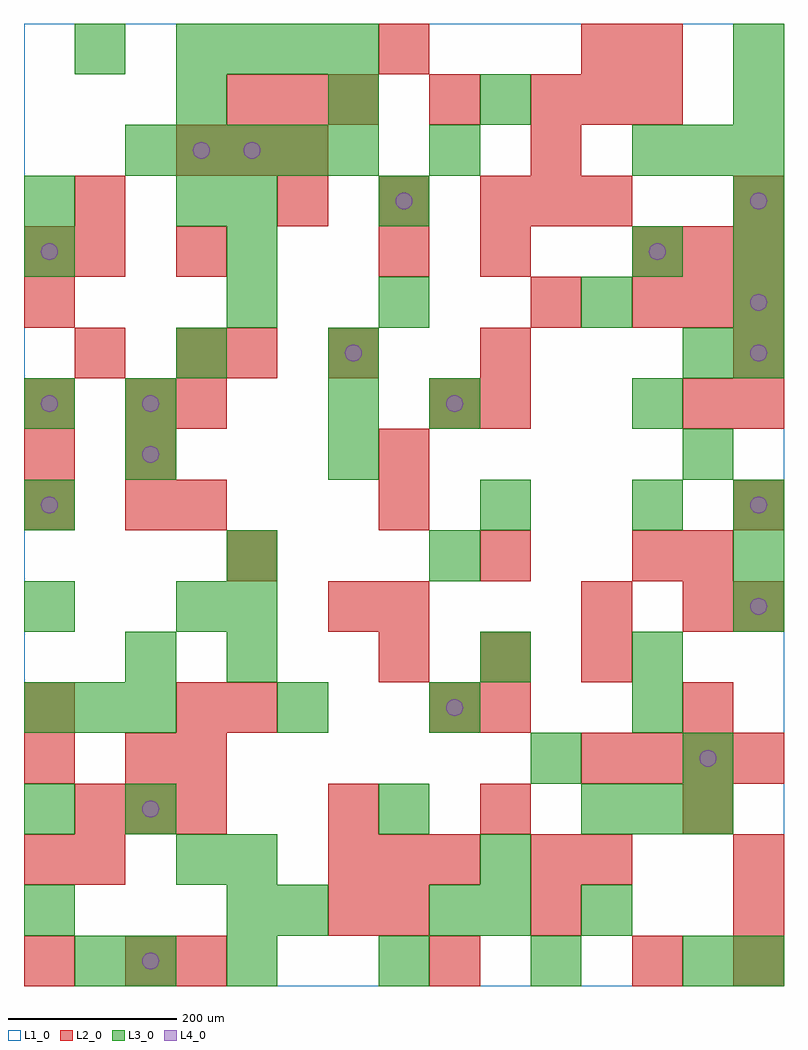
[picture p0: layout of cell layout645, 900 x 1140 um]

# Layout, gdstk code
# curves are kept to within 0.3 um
import gdstk
lib = gdstk.Library(unit=1e-6, precision=1e-09)
def R(c, l, rs):  # rectangles x0, y0, x1, y1
    for r in rs: c.add(gdstk.rectangle(r[:2], r[2:], *l))
def A(c, l, x, y, w, h, nx, ny, dx, dy):  # array of equal rectangles
    R(c, l, [(x+i*dx, y+j*dy, x+i*dx+w, y+j*dy+h) for i in range(nx) for j in range(ny)])
def P(c, l, *ps):  # polygons
    for p in ps: c.add(gdstk.Polygon(p, *l))
L1_0 = (1, 0)
L2_0 = (2, 0)
L3_0 = (3, 0)
L4_0 = (4, 0)

layout645 = lib.new_cell('layout645')
R(layout645, L1_0, [(0,0,900,1140)])
A(layout645, L2_0, 0, 0, 60, 60, 1, 3, 0, 120)
A(layout645, L2_0, 840, 0, 60, 60, 1, 3, 0, 60)
A(layout645, L2_0, 360, 120, 60, 60, 3, 1, 60, 0)
A(layout645, L2_0, 60, 180, 60, 60, 3, 1, 60, 0)
A(layout645, L2_0, 780, 180, 60, 60, 1, 3, 0, 120)
A(layout645, L2_0, 660, 240, 60, 60, 4, 1, 60, 0)
A(layout645, L2_0, 480, 300, 60, 60, 1, 3, 0, 360)
A(layout645, L2_0, 540, 300, 60, 60, 1, 3, 0, 180)
A(layout645, L2_0, 420, 360, 60, 60, 3, 1, 120, 0)
A(layout645, L2_0, 840, 420, 60, 60, 1, 3, 0, 120)
A(layout645, L2_0, 0, 540, 60, 60, 1, 3, 0, 60)
A(layout645, L2_0, 120, 540, 60, 60, 1, 3, 0, 60)
A(layout645, L2_0, 420, 600, 60, 60, 1, 3, 0, 240)
A(layout645, L2_0, 720, 780, 60, 60, 3, 2, 60, 60)
A(layout645, L2_0, 300, 900, 60, 60, 3, 1, 120, 0)
A(layout645, L2_0, 180, 960, 60, 60, 3, 1, 60, 0)
A(layout645, L2_0, 240, 1020, 60, 60, 3, 1, 60, 0)
A(layout645, L2_0, 600, 1020, 60, 60, 3, 1, 60, 0)
R(layout645, L2_0, [(120,0,180,60), (180,0,240,60), (480,0,540,60), (720,0,780,60), (360,60,420,120), (420,60,480,120), (600,60,660,120), (60,120,120,180), (600,120,660,180), (660,120,720,180), (360,180,420,240), (540,180,600,240), (120,240,180,300), (180,240,240,300), (0,300,60,360), (180,300,240,360), (240,300,300,360), (360,420,420,480), (420,420,480,480), (660,420,720,480), (240,480,300,540), (720,480,780,540), (780,480,840,540), (180,540,240,600), (420,540,480,600), (180,660,240,720), (780,660,840,720), (60,720,120,780), (180,720,240,780), (240,720,300,780), (360,720,420,780), (540,720,600,780), (840,720,900,780), (0,780,60,840), (600,780,660,840), (0,840,60,900), (60,840,120,900), (180,840,240,900), (540,840,600,900), (60,900,120,960), (600,900,660,960), (660,900,720,960), (840,900,900,960), (600,960,660,1020), (660,1080,720,1140), (720,1080,780,1140)])
A(layout645, L3_0, 120, 0, 60, 60, 1, 3, 0, 180)
A(layout645, L3_0, 240, 0, 60, 60, 4, 1, 180, 0)
A(layout645, L3_0, 180, 120, 60, 60, 1, 3, 0, 300)
A(layout645, L3_0, 660, 180, 60, 60, 3, 1, 60, 0)
A(layout645, L3_0, 0, 300, 60, 60, 3, 1, 60, 0)
A(layout645, L3_0, 480, 300, 60, 60, 1, 3, 0, 180)
A(layout645, L3_0, 240, 360, 60, 60, 1, 3, 0, 60)
A(layout645, L3_0, 0, 420, 60, 60, 1, 3, 0, 120)
A(layout645, L3_0, 840, 420, 60, 60, 1, 3, 0, 60)
A(layout645, L3_0, 360, 600, 60, 60, 1, 3, 0, 60)
A(layout645, L3_0, 840, 720, 60, 60, 1, 4, 0, 60)
A(layout645, L3_0, 240, 780, 60, 60, 1, 3, 0, 60)
A(layout645, L3_0, 120, 960, 60, 60, 5, 1, 60, 0)
A(layout645, L3_0, 720, 960, 60, 60, 3, 1, 60, 0)
A(layout645, L3_0, 180, 1020, 60, 60, 3, 1, 180, 0)
A(layout645, L3_0, 180, 1080, 60, 60, 4, 1, 60, 0)
R(layout645, L3_0, [(60,0,120,60), (840,0,900,60), (0,60,60,120), (240,60,300,120), (300,60,360,120), (480,60,540,120), (540,60,600,120), (660,60,720,120), (240,120,300,180), (540,120,600,180), (0,180,60,240), (420,180,480,240), (600,240,660,300), (780,240,840,300), (300,300,360,360), (720,300,780,360), (540,360,600,420), (720,360,780,420), (540,540,600,600), (720,540,780,600), (120,600,180,660), (780,600,840,660), (120,660,180,720), (720,660,780,720), (780,720,840,780), (420,780,480,840), (660,780,720,840), (0,840,60,900), (720,840,780,900), (0,900,60,960), (180,900,240,960), (420,900,480,960), (480,960,540,1020), (840,1020,900,1080), (60,1080,120,1140), (840,1080,900,1140)])
P(layout645, L4_0, [(40,570),(39.239,573.827),(37.071,577.071),(33.827,579.239),(30,580),(26.173,579.239),(22.929,577.071),(20.761,573.827),(20,570),(20.761,566.173),(22.929,562.929),(26.173,560.761),(30,560),(33.827,560.761),(37.071,562.929),(39.239,566.173)],
  [(40,690),(39.239,693.827),(37.071,697.071),(33.827,699.239),(30,700),(26.173,699.239),(22.929,697.071),(20.761,693.827),(20,690),(20.761,686.173),(22.929,682.929),(26.173,680.761),(30,680),(33.827,680.761),(37.071,682.929),(39.239,686.173)],
  [(40,870),(39.239,873.827),(37.071,877.071),(33.827,879.239),(30,880),(26.173,879.239),(22.929,877.071),(20.761,873.827),(20,870),(20.761,866.173),(22.929,862.929),(26.173,860.761),(30,860),(33.827,860.761),(37.071,862.929),(39.239,866.173)],
  [(160,30),(159.239,33.827),(157.071,37.071),(153.827,39.239),(150,40),(146.173,39.239),(142.929,37.071),(140.761,33.827),(140,30),(140.761,26.173),(142.929,22.929),(146.173,20.761),(150,20),(153.827,20.761),(157.071,22.929),(159.239,26.173)],
  [(160,210),(159.239,213.827),(157.071,217.071),(153.827,219.239),(150,220),(146.173,219.239),(142.929,217.071),(140.761,213.827),(140,210),(140.761,206.173),(142.929,202.929),(146.173,200.761),(150,200),(153.827,200.761),(157.071,202.929),(159.239,206.173)],
  [(160,630),(159.239,633.827),(157.071,637.071),(153.827,639.239),(150,640),(146.173,639.239),(142.929,637.071),(140.761,633.827),(140,630),(140.761,626.173),(142.929,622.929),(146.173,620.761),(150,620),(153.827,620.761),(157.071,622.929),(159.239,626.173)],
  [(160,690),(159.239,693.827),(157.071,697.071),(153.827,699.239),(150,700),(146.173,699.239),(142.929,697.071),(140.761,693.827),(140,690),(140.761,686.173),(142.929,682.929),(146.173,680.761),(150,680),(153.827,680.761),(157.071,682.929),(159.239,686.173)],
  [(220,990),(219.239,993.827),(217.071,997.071),(213.827,999.239),(210,1000),(206.173,999.239),(202.929,997.071),(200.761,993.827),(200,990),(200.761,986.173),(202.929,982.929),(206.173,980.761),(210,980),(213.827,980.761),(217.071,982.929),(219.239,986.173)],
  [(280,990),(279.239,993.827),(277.071,997.071),(273.827,999.239),(270,1000),(266.173,999.239),(262.929,997.071),(260.761,993.827),(260,990),(260.761,986.173),(262.929,982.929),(266.173,980.761),(270,980),(273.827,980.761),(277.071,982.929),(279.239,986.173)],
  [(400,750),(399.239,753.827),(397.071,757.071),(393.827,759.239),(390,760),(386.173,759.239),(382.929,757.071),(380.761,753.827),(380,750),(380.761,746.173),(382.929,742.929),(386.173,740.761),(390,740),(393.827,740.761),(397.071,742.929),(399.239,746.173)],
  [(460,930),(459.239,933.827),(457.071,937.071),(453.827,939.239),(450,940),(446.173,939.239),(442.929,937.071),(440.761,933.827),(440,930),(440.761,926.173),(442.929,922.929),(446.173,920.761),(450,920),(453.827,920.761),(457.071,922.929),(459.239,926.173)],
  [(520,330),(519.239,333.827),(517.071,337.071),(513.827,339.239),(510,340),(506.173,339.239),(502.929,337.071),(500.761,333.827),(500,330),(500.761,326.173),(502.929,322.929),(506.173,320.761),(510,320),(513.827,320.761),(517.071,322.929),(519.239,326.173)],
  [(520,690),(519.239,693.827),(517.071,697.071),(513.827,699.239),(510,700),(506.173,699.239),(502.929,697.071),(500.761,693.827),(500,690),(500.761,686.173),(502.929,682.929),(506.173,680.761),(510,680),(513.827,680.761),(517.071,682.929),(519.239,686.173)],
  [(760,870),(759.239,873.827),(757.071,877.071),(753.827,879.239),(750,880),(746.173,879.239),(742.929,877.071),(740.761,873.827),(740,870),(740.761,866.173),(742.929,862.929),(746.173,860.761),(750,860),(753.827,860.761),(757.071,862.929),(759.239,866.173)],
  [(820,270),(819.239,273.827),(817.071,277.071),(813.827,279.239),(810,280),(806.173,279.239),(802.929,277.071),(800.761,273.827),(800,270),(800.761,266.173),(802.929,262.929),(806.173,260.761),(810,260),(813.827,260.761),(817.071,262.929),(819.239,266.173)],
  [(880,450),(879.239,453.827),(877.071,457.071),(873.827,459.239),(870,460),(866.173,459.239),(862.929,457.071),(860.761,453.827),(860,450),(860.761,446.173),(862.929,442.929),(866.173,440.761),(870,440),(873.827,440.761),(877.071,442.929),(879.239,446.173)],
  [(880,570),(879.239,573.827),(877.071,577.071),(873.827,579.239),(870,580),(866.173,579.239),(862.929,577.071),(860.761,573.827),(860,570),(860.761,566.173),(862.929,562.929),(866.173,560.761),(870,560),(873.827,560.761),(877.071,562.929),(879.239,566.173)],
  [(880,750),(879.239,753.827),(877.071,757.071),(873.827,759.239),(870,760),(866.173,759.239),(862.929,757.071),(860.761,753.827),(860,750),(860.761,746.173),(862.929,742.929),(866.173,740.761),(870,740),(873.827,740.761),(877.071,742.929),(879.239,746.173)],
  [(880,810),(879.239,813.827),(877.071,817.071),(873.827,819.239),(870,820),(866.173,819.239),(862.929,817.071),(860.761,813.827),(860,810),(860.761,806.173),(862.929,802.929),(866.173,800.761),(870,800),(873.827,800.761),(877.071,802.929),(879.239,806.173)],
  [(880,930),(879.239,933.827),(877.071,937.071),(873.827,939.239),(870,940),(866.173,939.239),(862.929,937.071),(860.761,933.827),(860,930),(860.761,926.173),(862.929,922.929),(866.173,920.761),(870,920),(873.827,920.761),(877.071,922.929),(879.239,926.173)])

lib.write_gds('layout645.gds')
